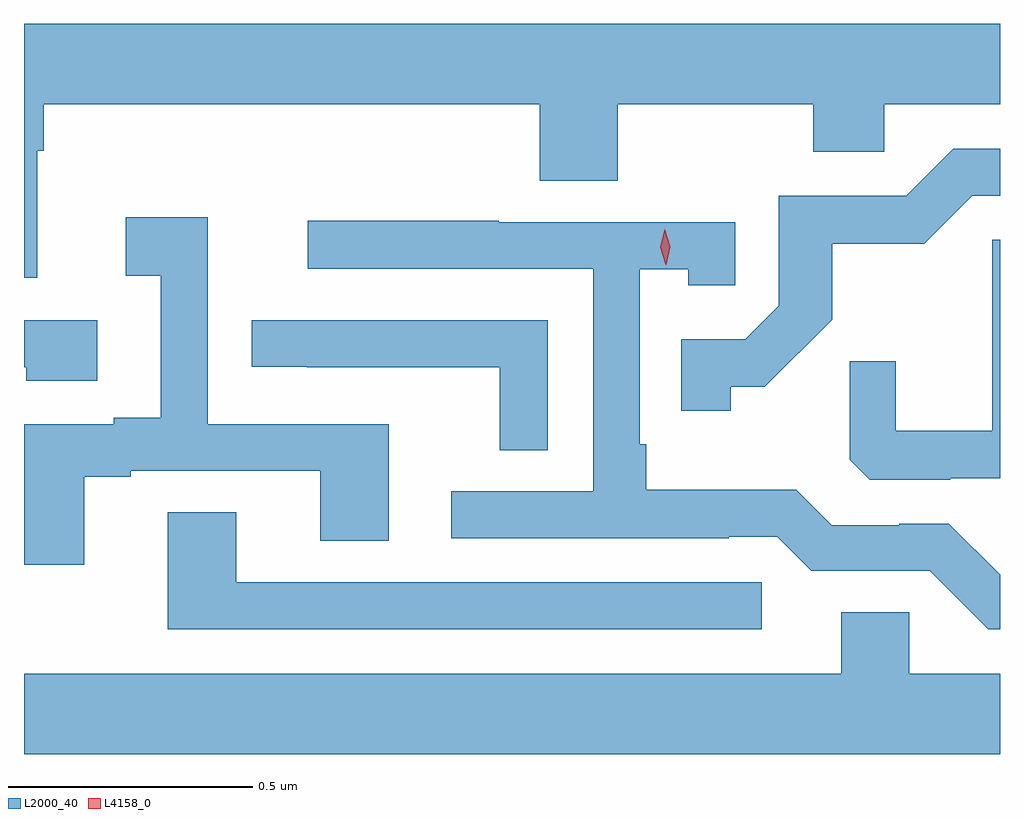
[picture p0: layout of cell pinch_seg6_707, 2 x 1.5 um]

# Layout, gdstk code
import gdstk
lib = gdstk.Library(unit=1e-6, precision=1e-09)
def P(c, l, *ps):  # polygons
    for p in ps: c.add(gdstk.Polygon(p, *l))
L2000_40 = (2000, 40)
L4158_0 = (4158, 0)

pinch_seg6_707 = lib.new_cell('pinch_seg6_707')
P(pinch_seg6_707, L2000_40, [(437.497,936.584),(437.51,936.584),(437.51,936.68),(438.527,936.68),(438.527,936.523),(438.687,936.523),(438.687,936.68),(439.087,936.68),(439.087,936.582),(439.233,936.582),(439.233,936.68),(439.47,936.68),(439.47,936.844),(437.47,936.844),(437.47,936.324),(437.497,936.324)],
  [(438.918,936.101),(438.988,936.101),(439.126,936.238),(439.126,936.394),(439.315,936.394),(439.413,936.492),(439.47,936.492),(439.47,936.588),(439.374,936.588),(439.278,936.492),(439.017,936.492),(439.017,936.267),(438.948,936.198),(438.817,936.198),(438.817,936.051),(438.918,936.051)],
  [(437.593,935.916),(437.689,935.916),(437.689,935.928),(438.077,935.928),(438.077,935.785),(438.217,935.785),(438.217,936.024),(437.847,936.024),(437.847,936.448),(437.679,936.448),(437.679,936.328),(437.75,936.328),(437.75,936.037),(437.654,936.037),(437.654,936.024),(437.47,936.024),(437.47,935.736),(437.593,935.736)],
  [(439.47,935.715),(439.365,935.82),(439.264,935.82),(439.264,935.817),(439.125,935.817),(439.052,935.89),(438.745,935.89),(438.745,935.983),(438.732,935.983),(438.732,936.341),(438.831,936.341),(438.831,936.309),(438.927,936.309),(438.927,936.438),(438.443,936.438),(438.443,936.441),(438.051,936.441),(438.051,936.342),(438.636,936.342),(438.636,935.886),(438.345,935.886),(438.345,935.79),(438.914,935.79),(438.914,935.793),(439.014,935.793),(439.083,935.724),(439.326,935.724),(439.446,935.604),(439.47,935.604)],
  [(439.368,935.913),(439.47,935.913),(439.47,936.402),(439.454,936.402),(439.454,936.01),(439.256,936.01),(439.256,936.153),(439.162,936.153),(439.162,935.951),(439.203,935.91),(439.368,935.91)],
  [(437.62,936.237),(437.47,936.237),(437.47,936.141),(437.475,936.141),(437.475,936.113),(437.62,936.113)],
  [(438.543,936.237),(437.937,936.237),(437.937,936.142),(438.049,936.142),(438.049,936.141),(438.445,936.141),(438.445,935.971),(438.543,935.971)],
  [(438.982,935.7),(437.905,935.7),(437.905,935.843),(437.765,935.843),(437.765,935.604),(438.982,935.604)],
  [(439.47,935.512),(439.284,935.512),(439.284,935.639),(439.145,935.639),(439.145,935.512),(437.47,935.512),(437.47,935.348),(439.47,935.348)])
P(pinch_seg6_707, L4158_0, [(438.785,936.351),(438.774,936.386),(438.783,936.423),(438.783,936.423),(438.783,936.423),(438.794,936.387),(438.786,936.351),(438.786,936.351)])

lib.write_gds('pinch_seg6_707.gds')
